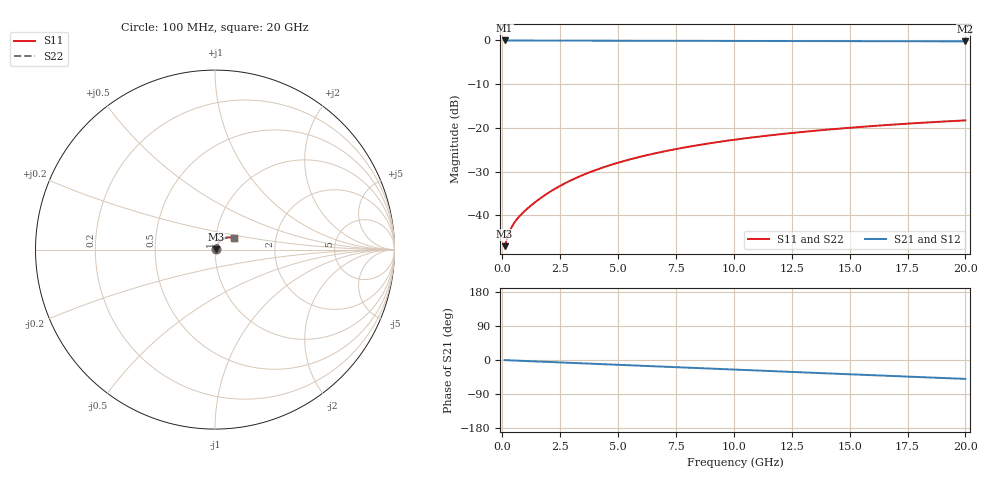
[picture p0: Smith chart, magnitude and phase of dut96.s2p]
! Touchstone file exported from HFSS 2026.1.0
!  File:  C:/ffzhzh/LocalFiles/Ansys_Project_Files/temp_train_TMRDL_96_1782881608_8056.aedt
!  Generated:  12:54:43 PM Jul  1, 2026
!  Design:  TMRDL
!  Project:  temp_train_TMRDL_96_1782881608_8056
! Variables:
!  h_bsmrdl = 2um
!  h_ox = 20um
!  h_rdl = 5um
!  h_sub = 80um
!  h_tmrdl = 2.93um
!  h_tsv = 80um
!  h_via = 3um
!  l_bsmrdl = 300um
!  l_sub = 1272.49um
!  l_tmrdl = 872.49um
!  m_sub = 200um
!  pitch = 34.26um
!  r_tsv = 6um
!  s_tmrdl = 10um
!  w_bsmrdl = 18um
!  w_sub = 500um
!  w_tmrdl = 27.63um
!  x_tsv_center1 = 886.305um
!  x_tsv_center2 = 1204.305um
!  x_tsv_center3 = 2104.425um
!  x_tsv_center4 = 2422.425um
!  x_tsv_center5 = 3322.545um
!  x_tsv_center6 = 3640.545um
# GHz S MA R 50.000000
! Terminal data exported
! Port[1] = TM_RDL1_1_T1
! Port[2] = TM_RDL1_1_T2
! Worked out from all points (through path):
!   200 points, 100 MHz to 20 GHz, reference 50 ohm
!   highest |S21| = -0.04 dB at 100 MHz (marker M1); lowest = -0.2 dB at 20 GHz (marker M2)
!   group delay of S21, straight-line fit = 6.92 ps
!   lowest |S11| = -47.1 dB at 100 MHz (marker M3), VSWR 1.01, Z = 50.4 + j0.149 ohm
!   |S11| at or under -10 dB: start of sweep to end of sweep
!   |S22| runs from -47.1 to -18.3 dB; largest |S21 - S12| = 3.6e-15
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0.1  0.00443 19.4  0.9958 -0.3  0.9958 -0.3  0.00443 19.4
! Gamma 0 0 0 0
! Port Impedance 50 0 50 0
0.2  0.005362 31.0  0.9954 -0.6  0.9954 -0.6  0.005362 31.0
0.3  0.006367 36.8  0.9949 -0.9  0.9949 -0.9  0.006367 36.8
0.4  0.007278 40.0  0.9945 -1.1  0.9945 -1.1  0.007277 40.0
0.5  0.008078 42.3  0.9941 -1.4  0.9941 -1.4  0.008077 42.3
0.6  0.008798 44.2  0.9939 -1.6  0.9939 -1.6  0.008796 44.2
0.8  0.01011 47.6  0.9934 -2.1  0.9934 -2.1  0.01011 47.6
1  0.01138 50.7  0.9932 -2.6  0.9932 -2.6  0.01138 50.7
1.5  0.01465 56.7  0.9928 -3.9  0.9928 -3.9  0.01464 56.7
2.1  0.01881 61.0  0.9923 -5.4  0.9923 -5.4  0.01881 61.0
2.8  0.02386 63.4  0.9918 -7.2  0.9918 -7.2  0.02386 63.4
3.5  0.02899 64.3  0.9913 -9.0  0.9913 -9.0  0.02898 64.3
4.2  0.0341 64.2  0.9906 -10.8  0.9906 -10.8  0.03409 64.3
5  0.03988 63.5  0.9898 -12.8  0.9898 -12.8  0.03986 63.5
5.9  0.04623 62.2  0.9887 -15.1  0.9887 -15.1  0.04621 62.3
6.8  0.05242 60.6  0.9877 -17.3  0.9877 -17.3  0.05239 60.7
8.3  0.06231 57.6  0.9858 -21.1  0.9858 -21.1  0.06227 57.7
10.1  0.07345 53.7  0.9835 -25.6  0.9835 -25.6  0.0734 53.8
11.7  0.08272 50.2  0.9814 -29.5  0.9814 -29.5  0.08265 50.2
13.4  0.09192 46.3  0.9794 -33.7  0.9794 -33.7  0.09184 46.4
16.7  0.1079 38.9  0.9757 -41.8  0.9757 -41.8  0.1078 39.0
20  0.1215 31.4  0.9724 -49.9  0.9724 -49.9  0.1213 31.6
